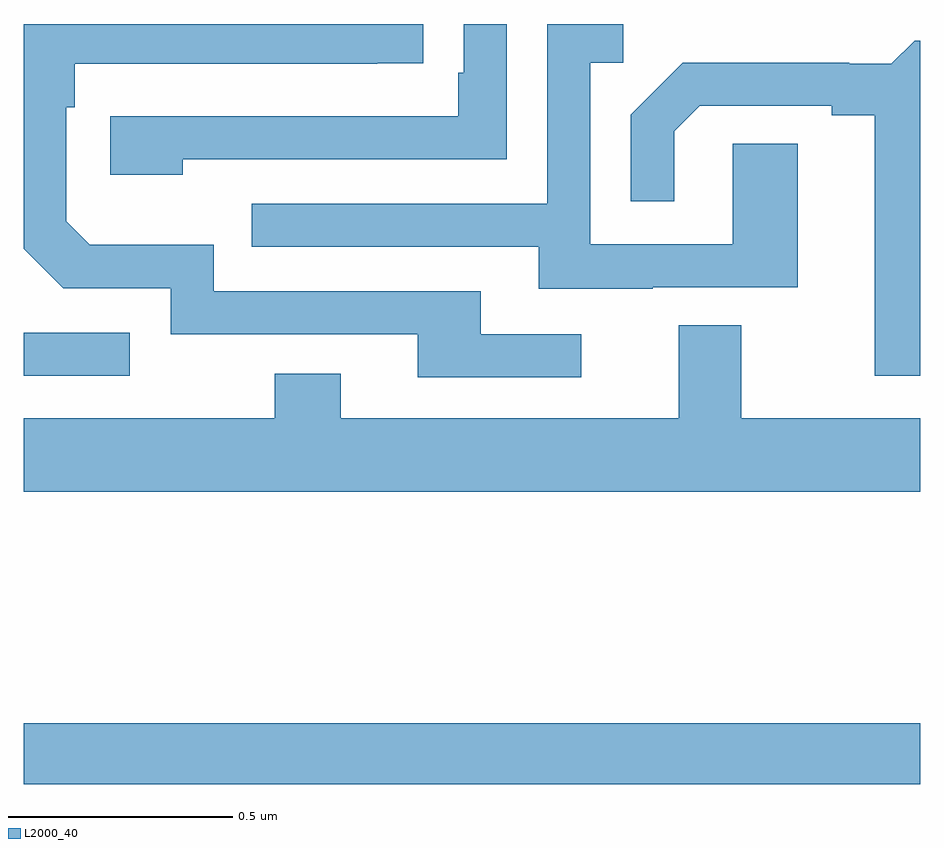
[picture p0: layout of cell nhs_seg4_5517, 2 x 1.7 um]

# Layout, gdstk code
import gdstk
lib = gdstk.Library(unit=1e-6, precision=1e-09)
def R(c, l, rs):  # rectangles x0, y0, x1, y1
    for r in rs: c.add(gdstk.rectangle(r[:2], r[2:], *l))
def P(c, l, *ps):  # polygons
    for p in ps: c.add(gdstk.Polygon(p, *l))
L2000_40 = (2000, 40)

nhs_seg4_5517 = lib.new_cell('nhs_seg4_5517')
R(nhs_seg4_5517, L2000_40, [(179,760.204,181,760.34), (179,761.115,179.236,761.211)])
P(nhs_seg4_5517, L2000_40, [(180.403,761.313),(180.727,761.313),(180.727,761.633),(180.582,761.633),(180.582,761.409),(180.264,761.409),(180.264,761.814),(180.337,761.814),(180.337,761.9),(180.168,761.9),(180.168,761.499),(179.509,761.499),(179.509,761.403),(180.149,761.403),(180.149,761.309),(180.403,761.309)],
  [(180.244,761.208),(180.019,761.208),(180.019,761.304),(179.424,761.304),(179.424,761.407),(179.147,761.407),(179.094,761.46),(179.094,761.714),(179.114,761.714),(179.114,761.811),(179.789,761.811),(179.789,761.812),(179.891,761.812),(179.891,761.9),(179,761.9),(179,761.398),(179.088,761.31),(179.328,761.31),(179.328,761.208),(179.879,761.208),(179.879,761.112),(180.244,761.112)],
  [(179.354,761.598),(180.078,761.598),(180.078,761.9),(179.982,761.9),(179.982,761.791),(179.969,761.791),(179.969,761.694),(179.193,761.694),(179.193,761.564),(179.354,761.564)],
  [(181,761.863),(180.988,761.863),(180.936,761.811),(180.842,761.811),(180.842,761.814),(180.47,761.814),(180.354,761.698),(180.354,761.505),(180.451,761.505),(180.451,761.661),(180.508,761.718),(180.803,761.718),(180.803,761.696),(180.899,761.696),(180.899,761.115),(181,761.115)],
  [(181,761.02),(180.601,761.02),(180.601,761.228),(180.461,761.228),(180.461,761.02),(179.707,761.02),(179.707,761.119),(179.56,761.119),(179.56,761.02),(179,761.02),(179,760.856),(181,760.856)])

lib.write_gds('nhs_seg4_5517.gds')
